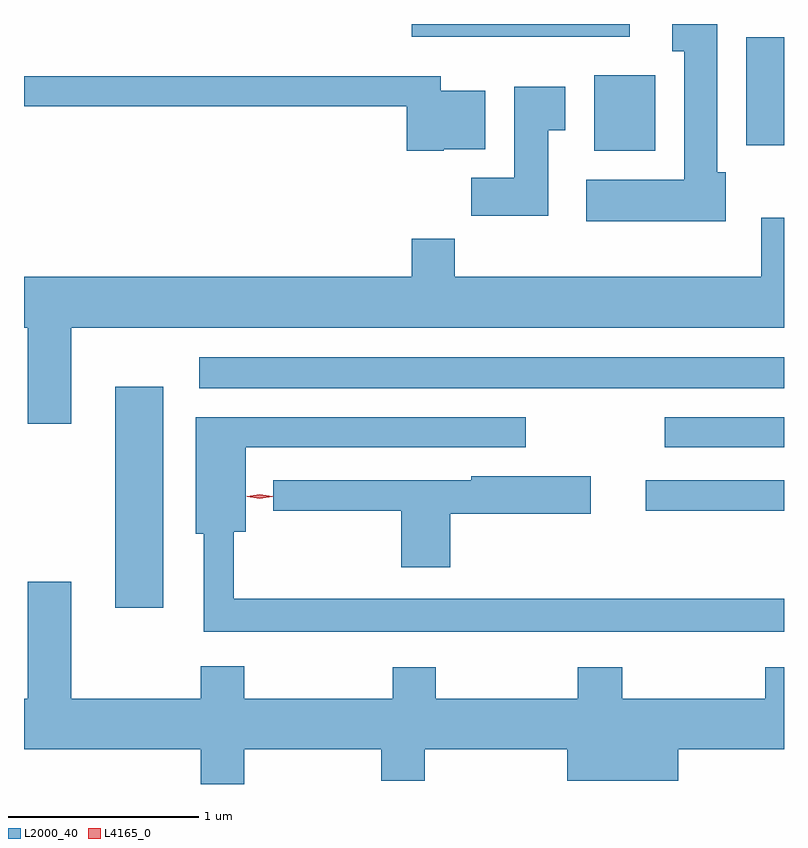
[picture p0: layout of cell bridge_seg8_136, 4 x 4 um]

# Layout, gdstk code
import gdstk
lib = gdstk.Library(unit=1e-6, precision=1e-09)
def R(c, l, rs):  # rectangles x0, y0, x1, y1
    for r in rs: c.add(gdstk.rectangle(r[:2], r[2:], *l))
def P(c, l, *ps):  # polygons
    for p in ps: c.add(gdstk.Polygon(p, *l))
L2000_40 = (2000, 40)
L4165_0 = (4165, 0)

bridge_seg8_136 = lib.new_cell('bridge_seg8_136')
R(bridge_seg8_136, L2000_40, [(1776.271,1848.261,1776.524,1849.424), (1779.063,1848.771,1779.791,1848.934), (1779.163,1849.106,1779.791,1849.264), (1776.713,1849.416,1779.791,1849.579), (1778.791,1850.666,1779.114,1851.064), (1779.591,1850.696,1779.791,1851.264), (1777.831,1851.266,1778.979,1851.334)])
P(bridge_seg8_136, L2000_40, [(1779.484,1850.554),(1779.439,1850.554),(1779.439,1851.334),(1779.203,1851.334),(1779.203,1851.191),(1779.266,1851.191),(1779.266,1850.514),(1778.751,1850.514),(1778.751,1850.296),(1779.484,1850.296)],
  [(1778,1850.676),(1778.219,1850.676),(1778.219,1850.984),(1777.984,1850.984),(1777.984,1851.059),(1775.791,1851.059),(1775.791,1850.901),(1777.806,1850.901),(1777.806,1850.666),(1778,1850.666)],
  [(1778.549,1850.776),(1778.639,1850.776),(1778.639,1851.004),(1778.371,1851.004),(1778.371,1850.524),(1778.146,1850.524),(1778.146,1850.326),(1778.549,1850.326)],
  [(1776.039,1849.736),(1779.791,1849.736),(1779.791,1850.314),(1779.671,1850.314),(1779.671,1850.004),(1778.059,1850.004),(1778.059,1850.204),(1777.831,1850.204),(1777.831,1850.004),(1775.791,1850.004),(1775.791,1849.736),(1775.811,1849.736),(1775.811,1849.231),(1776.039,1849.231)],
  [(1779.791,1848.309),(1776.894,1848.309),(1776.894,1848.661),(1776.959,1848.661),(1776.959,1849.106),(1778.433,1849.106),(1778.433,1849.264),(1776.696,1849.264),(1776.696,1848.651),(1776.736,1848.651),(1776.736,1848.136),(1779.791,1848.136)],
  [(1778.034,1848.756),(1778.774,1848.756),(1778.774,1848.954),(1778.146,1848.954),(1778.146,1848.934),(1777.103,1848.934),(1777.103,1848.771),(1777.776,1848.771),(1777.776,1848.476),(1778.034,1848.476)],
  [(1776.949,1847.516),(1777.671,1847.516),(1777.671,1847.351),(1777.899,1847.351),(1777.899,1847.516),(1778.651,1847.516),(1778.651,1847.351),(1779.234,1847.351),(1779.234,1847.516),(1779.791,1847.516),(1779.791,1847.949),(1779.691,1847.949),(1779.691,1847.784),(1778.939,1847.784),(1778.939,1847.949),(1778.706,1847.949),(1778.706,1847.784),(1777.959,1847.784),(1777.959,1847.949),(1777.731,1847.949),(1777.731,1847.784),(1776.949,1847.784),(1776.949,1847.954),(1776.721,1847.954),(1776.721,1847.784),(1776.039,1847.784),(1776.039,1848.399),(1775.811,1848.399),(1775.811,1847.784),(1775.791,1847.784),(1775.791,1847.516),(1776.721,1847.516),(1776.721,1847.334),(1776.949,1847.334)])
P(bridge_seg8_136, L4165_0, [(1777.032,1848.836),(1776.966,1848.845),(1776.966,1848.846),(1776.966,1848.846),(1777.032,1848.856),(1777.098,1848.847),(1777.098,1848.846),(1777.098,1848.846)],
  [(1777.032,1848.839),(1776.963,1848.848),(1776.963,1848.848),(1776.963,1848.849),(1777.032,1848.858),(1777.101,1848.849),(1777.102,1848.849),(1777.101,1848.848)])

lib.write_gds('bridge_seg8_136.gds')
